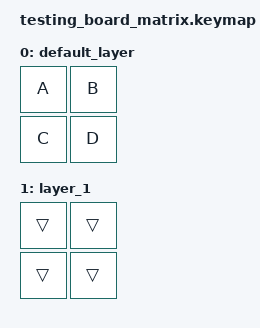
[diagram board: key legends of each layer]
#include <behaviors.dtsi>
#include <dt-bindings/zmk/keys.h>

/ {
    keymap {
        compatible = "zmk,keymap";

        default_layer {
            // -------------------------
            // |   Play/Pause    |     M     |
            // |        A        |     B     |

            bindings = <
&kp A  &kp B
&kp C  &kp D
            >;
        };

        layer_1 {
            bindings = <
&trans  &trans
&trans  &trans
            >;
        };
    };
};
